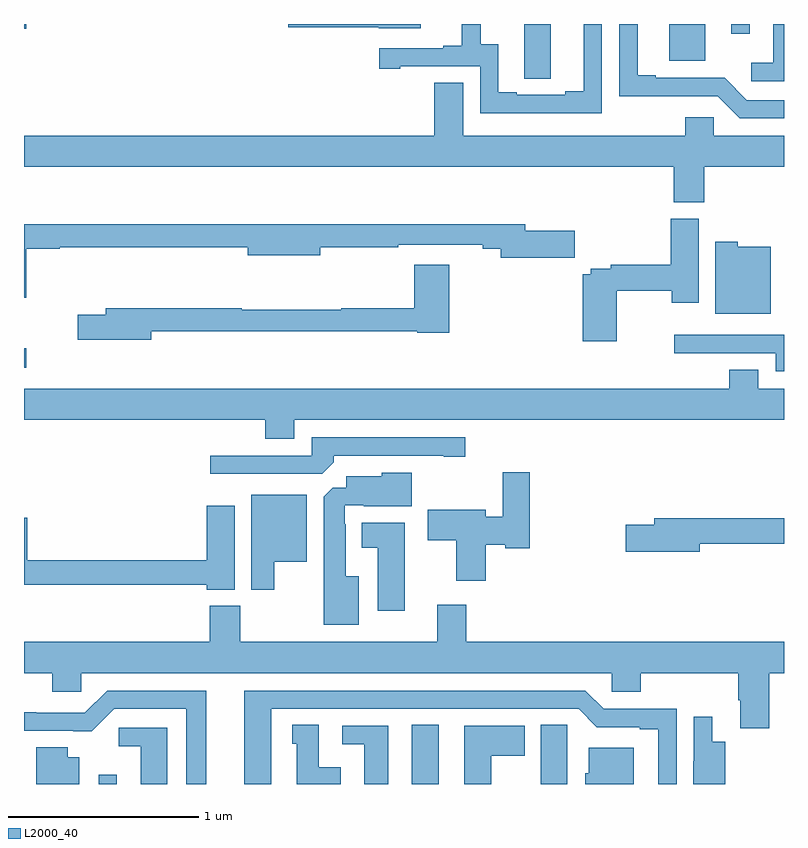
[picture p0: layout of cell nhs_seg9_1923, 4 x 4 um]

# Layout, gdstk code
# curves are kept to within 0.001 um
import gdstk
lib = gdstk.Library(unit=1e-6, precision=1e-09)
def R(c, l, rs):  # rectangles x0, y0, x1, y1
    for r in rs: c.add(gdstk.rectangle(r[:2], r[2:], *l))
def P(c, l, *ps):  # polygons
    for p in ps: c.add(gdstk.Polygon(p, *l))
L2000_40 = (2000, 40)

nhs_seg9_1923 = lib.new_cell('nhs_seg9_1923')
R(nhs_seg9_1923, L2000_40, [(219.393,1198.5,219.489,1198.549), (221.042,1198.5,221.182,1198.811), (219,1200.69,219.011,1200.793), (222.395,1202.306,222.586,1202.5), (222.722,1202.448,222.819,1202.5), (219,1202.474,219.013,1202.5)])
P(nhs_seg9_1923, L2000_40, [(223,1202.1),(222.804,1202.1),(222.687,1202.217),(222.325,1202.217),(222.325,1202.23),(222.229,1202.23),(222.229,1202.5),(222.132,1202.5),(222.132,1202.12),(222.651,1202.121),(222.768,1202.004),(223,1202.004)],
  [(221.773,1202.5),(221.633,1202.5),(221.633,1202.32),(221.634,1202.32),(221.634,1202.212),(221.773,1202.212)],
  [(221.089,1202.5),(220.392,1202.5),(220.392,1202.483),(220.866,1202.483),(220.866,1202.477),(221.089,1202.477)],
  [(223,1202.5),(222.944,1202.5),(222.944,1202.296),(222.828,1202.296),(222.828,1202.199),(223,1202.199)],
  [(222.042,1202.5),(221.945,1202.5),(221.945,1202.147),(221.849,1202.147),(221.849,1202.127),(221.593,1202.127),(221.593,1202.142),(221.497,1202.142),(221.497,1202.393),(221.403,1202.393),(221.403,1202.5),(221.303,1202.5),(221.303,1202.386),(221.207,1202.386),(221.207,1202.373),(220.869,1202.373),(220.869,1202.265),(220.981,1202.265),(220.981,1202.277),(221.4,1202.277),(221.4,1202.031),(222.042,1202.031)],
  [(222.579,1201.748),(223,1201.748),(223,1201.912),(222.63,1201.912),(222.63,1202.01),(222.479,1202.01),(222.479,1201.912),(221.311,1201.912),(221.311,1202.192),(221.159,1202.192),(221.159,1201.912),(219,1201.912),(219,1201.748),(222.419,1201.748),(222.419,1201.561),(222.579,1201.561)],
  [(222.12,1201.096),(222.409,1201.096),(222.409,1201.032),(222.55,1201.032),(222.55,1201.476),(222.404,1201.476),(222.404,1201.232),(222.088,1201.232),(222.088,1201.212),(221.984,1201.212),(221.984,1201.183),(221.942,1201.183),(221.942,1200.831),(222.12,1200.831)],
  [(219.011,1201.318),(219.188,1201.318),(219.188,1201.326),(220.178,1201.326),(220.178,1201.283),(220.558,1201.283),(220.558,1201.326),(220.97,1201.326),(220.97,1201.338),(221.414,1201.338),(221.414,1201.318),(221.51,1201.318),(221.51,1201.271),(221.899,1201.271),(221.899,1201.413),(221.638,1201.413),(221.638,1201.447),(219,1201.447),(219,1201.058),(219.011,1201.058)],
  [(222.931,1201.327),(222.756,1201.327),(222.756,1201.354),(222.638,1201.354),(222.638,1200.974),(222.931,1200.974)],
  [(219.67,1200.882),(221.07,1200.882),(221.07,1200.874),(221.237,1200.874),(221.237,1201.234),(221.054,1201.234),(221.054,1201.003),(220.67,1201.003),(220.67,1200.995),(220.147,1200.995),(220.147,1201.003),(219.431,1201.003),(219.431,1200.969),(219.282,1200.969),(219.282,1200.839),(219.67,1200.839)],
  [(223,1200.864),(222.423,1200.864),(222.423,1200.768),(222.957,1200.768),(222.957,1200.672),(223,1200.672)],
  [(220.423,1200.416),(223,1200.416),(223,1200.58),(222.865,1200.58),(222.865,1200.679),(222.713,1200.679),(222.713,1200.58),(219,1200.58),(219,1200.416),(220.271,1200.416),(220.271,1200.317),(220.423,1200.317)],
  [(220.631,1200.194),(220.631,1200.228),(221.21,1200.228),(221.21,1200.223),(221.323,1200.223),(221.323,1200.324),(220.515,1200.324),(220.515,1200.228),(219.981,1200.228),(219.981,1200.132),(220.569,1200.132)],
  [(221.431,1199.759),(221.532,1199.759),(221.532,1199.741),(221.663,1199.741),(221.663,1200.142),(221.521,1200.142),(221.521,1199.906),(221.431,1199.906),(221.431,1199.944),(221.124,1199.944),(221.124,1199.782),(221.276,1199.782),(221.276,1199.571),(221.431,1199.571)],
  [(220.762,1199.593),(220.693,1199.593),(220.693,1199.867),(220.689,1199.867),(220.689,1199.967),(220.789,1199.967),(220.789,1199.963),(221.041,1199.963),(221.041,1200.139),(220.884,1200.139),(220.884,1200.121),(220.697,1200.121),(220.697,1200.06),(220.626,1200.06),(220.577,1200.011),(220.577,1199.339),(220.762,1199.339)],
  [(220.318,1199.669),(220.489,1199.669),(220.489,1200.022),(220.196,1200.022),(220.196,1199.523),(220.318,1199.523)],
  [(220.108,1199.965),(219.962,1199.965),(219.962,1199.678),(219.017,1199.678),(219.017,1199.902),(219,1199.902),(219,1199.55),(219.962,1199.55),(219.962,1199.522),(220.108,1199.522)],
  [(222.556,1199.764),(223,1199.764),(223,1199.9),(222.317,1199.9),(222.317,1199.864),(222.168,1199.864),(222.168,1199.722),(222.556,1199.722)],
  [(221.005,1199.875),(220.778,1199.875),(220.778,1199.744),(220.862,1199.744),(220.862,1199.412),(221.005,1199.412)],
  [(222.923,1199.084),(223,1199.084),(223,1199.248),(221.327,1199.248),(221.327,1199.443),(221.174,1199.443),(221.174,1199.248),(220.137,1199.248),(220.137,1199.437),(219.977,1199.437),(219.977,1199.248),(219,1199.248),(219,1199.084),(219.149,1199.084),(219.149,1198.986),(219.3,1198.986),(219.3,1199.084),(222.093,1199.084),(222.093,1198.986),(222.245,1198.986),(222.245,1199.084),(222.758,1199.084),(222.758,1198.942),(222.77,1198.942),(222.77,1198.794),(222.923,1198.794)],
  [(219.958,1198.992),(219.438,1198.992),(219.321,1198.875),(219.065,1198.875),(219.065,1198.877),(219,1198.877),(219,1198.779),(219.356,1198.778),(219.474,1198.896),(219.854,1198.896),(219.854,1198.5),(219.958,1198.5)],
  [(220.3,1198.896),(221.919,1198.896),(222.015,1198.8),(222.242,1198.8),(222.242,1198.788),(222.338,1198.788),(222.338,1198.5),(222.435,1198.5),(222.435,1198.896),(222.051,1198.896),(221.955,1198.992),(220.16,1198.992),(220.16,1198.5),(220.3,1198.5)],
  [(222.69,1198.723),(222.622,1198.723),(222.622,1198.855),(222.524,1198.855),(222.524,1198.619),(222.523,1198.619),(222.523,1198.5),(222.69,1198.5)],
  [(220.666,1198.588),(220.552,1198.588),(220.552,1198.811),(220.412,1198.811),(220.412,1198.713),(220.436,1198.713),(220.436,1198.5),(220.666,1198.5)],
  [(221.86,1198.7),(221.859,1198.7),(221.859,1198.811),(221.72,1198.811),(221.72,1198.5),(221.86,1198.5)],
  [(221.458,1198.648),(221.635,1198.648),(221.635,1198.807),(221.318,1198.807),(221.318,1198.5),(221.458,1198.5)],
  [(220.918,1198.806),(220.674,1198.806),(220.674,1198.71),(220.79,1198.71),(220.79,1198.5),(220.918,1198.5)],
  [(219.754,1198.797),(219.498,1198.797),(219.498,1198.7),(219.614,1198.7),(219.614,1198.5),(219.754,1198.5)],
  [(219.292,1198.642),(219.229,1198.642),(219.229,1198.694),(219.065,1198.694),(219.065,1198.5),(219.292,1198.5)],
  [(222.208,1198.69),(221.972,1198.69),(221.972,1198.557),(221.954,1198.557),(221.954,1198.5),(222.208,1198.5)])

lib.write_gds('nhs_seg9_1923.gds')
